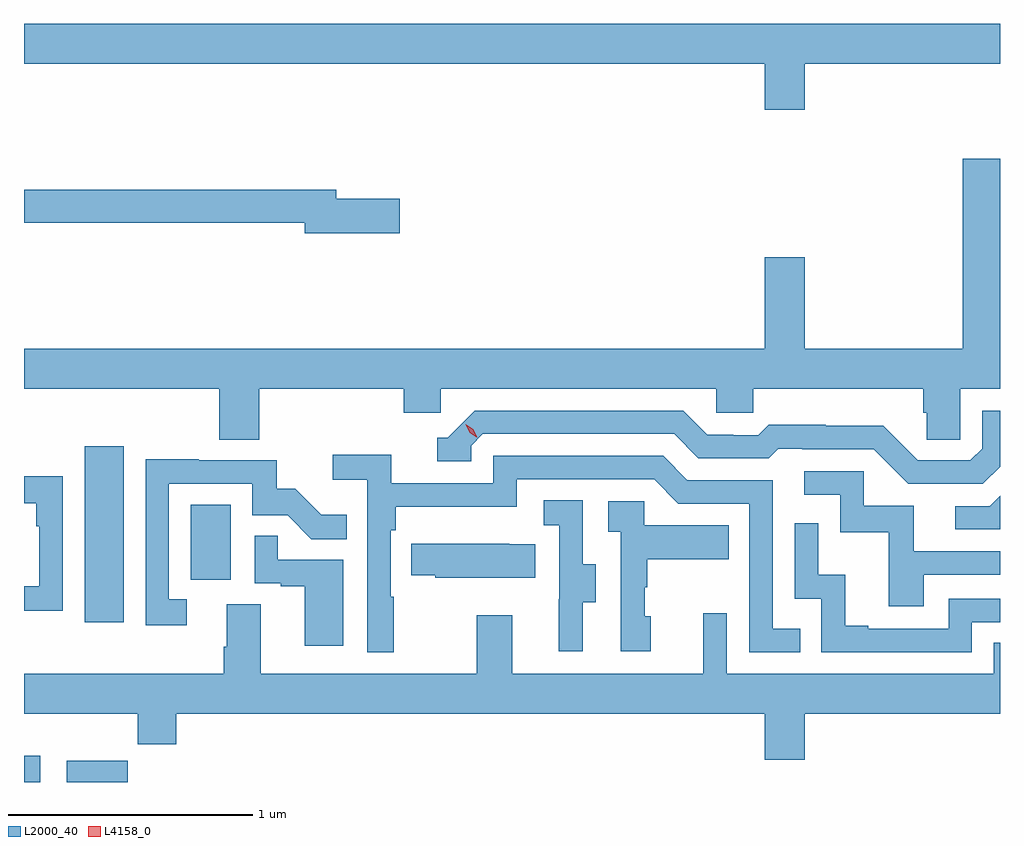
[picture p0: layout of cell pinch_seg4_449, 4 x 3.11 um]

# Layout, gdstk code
import gdstk
lib = gdstk.Library(unit=1e-6, precision=1e-09)
def R(c, l, rs):  # rectangles x0, y0, x1, y1
    for r in rs: c.add(gdstk.rectangle(r[:2], r[2:], *l))
def P(c, l, *ps):  # polygons
    for p in ps: c.add(gdstk.Polygon(p, *l))
L2000_40 = (2000, 40)
L4158_0 = (4158, 0)

pinch_seg4_449 = lib.new_cell('pinch_seg4_449')
R(pinch_seg4_449, L2000_40, [(905.229,771.232,905.296,771.34), (905.405,771.232,905.654,771.319), (905.477,771.888,905.638,772.609), (905.912,772.062,906.076,772.369)])
P(pinch_seg4_449, L2000_40, [(908.428,774.176),(909.229,774.176),(909.229,774.34),(905.229,774.34),(905.229,774.176),(908.264,774.176),(908.264,773.988),(908.428,773.988)],
  [(906.194,772.844),(906.785,772.844),(906.785,772.746),(906.936,772.746),(906.936,772.844),(908.067,772.844),(908.067,772.746),(908.217,772.746),(908.217,772.844),(908.915,772.844),(908.915,772.746),(908.929,772.746),(908.929,772.636),(909.066,772.636),(909.066,772.844),(909.229,772.844),(909.229,773.788),(909.077,773.788),(909.077,773.008),(908.428,773.008),(908.428,773.383),(908.264,773.383),(908.264,773.008),(905.229,773.008),(905.229,772.844),(906.029,772.844),(906.029,772.636),(906.194,772.636)],
  [(906.769,773.624),(906.508,773.624),(906.508,773.66),(905.229,773.66),(905.229,773.524),(906.38,773.524),(906.38,773.482),(906.769,773.482)],
  [(909.229,772.525),(909.229,772.755),(909.156,772.755),(909.156,772.599),(909.108,772.551),(908.892,772.551),(908.75,772.693),(908.514,772.693),(908.514,772.696),(908.281,772.696),(908.239,772.653),(908.136,772.653),(908.136,772.656),(908.029,772.656),(907.93,772.755),(907.077,772.755),(906.966,772.644),(906.923,772.644),(906.923,772.548),(907.062,772.548),(907.062,772.611),(907.11,772.659),(907.893,772.659),(907.992,772.56),(908.281,772.56),(908.32,772.599),(908.419,772.599),(908.419,772.596),(908.712,772.596),(908.853,772.455),(909.159,772.455)],
  [(906.745,771.992),(906.732,771.992),(906.732,772.265),(906.752,772.265),(906.752,772.361),(907.248,772.361),(907.248,772.473),(907.812,772.473),(907.911,772.374),(908.202,772.374),(908.202,771.765),(908.411,771.765),(908.411,771.861),(908.298,771.861),(908.298,772.47),(907.948,772.47),(907.849,772.569),(907.152,772.569),(907.152,772.458),(906.734,772.458),(906.734,772.574),(906.495,772.574),(906.495,772.472),(906.636,772.472),(906.636,771.765),(906.745,771.765)],
  [(905.896,771.981),(905.823,771.981),(905.823,772.455),(906.165,772.455),(906.165,772.326),(906.309,772.326),(906.407,772.228),(906.551,772.228),(906.551,772.327),(906.447,772.327),(906.34,772.434),(906.264,772.434),(906.264,772.551),(905.945,772.551),(905.945,772.556),(905.727,772.556),(905.727,771.876),(905.896,771.876)],
  [(908.917,772.083),(909.229,772.083),(909.229,772.179),(908.875,772.179),(908.875,772.365),(908.67,772.365),(908.67,772.506),(908.427,772.506),(908.427,772.41),(908.574,772.41),(908.574,772.257),(908.773,772.257),(908.773,771.954),(908.917,771.954)],
  [(905.388,772.486),(905.229,772.486),(905.229,772.376),(905.279,772.376),(905.279,772.28),(905.292,772.28),(905.292,772.035),(905.229,772.035),(905.229,771.934),(905.388,771.934)],
  [(909.229,772.405),(909.186,772.362),(909.045,772.362),(909.045,772.269),(909.229,772.269)],
  [(907.519,771.97),(907.573,771.97),(907.573,772.125),(907.518,772.125),(907.518,772.388),(907.359,772.388),(907.359,772.285),(907.422,772.285),(907.422,771.981),(907.421,771.981),(907.421,771.768),(907.519,771.768)],
  [(907.798,771.912),(907.773,771.912),(907.773,772.031),(907.783,772.031),(907.783,772.145),(908.117,772.145),(908.117,772.285),(907.77,772.285),(907.77,772.383),(907.623,772.383),(907.623,772.259),(907.674,772.259),(907.674,771.768),(907.798,771.768)],
  [(909.114,771.888),(909.229,771.888),(909.229,771.984),(909.018,771.984),(909.018,771.861),(908.689,771.861),(908.689,771.874),(908.594,771.874),(908.594,772.082),(908.484,772.082),(908.484,772.294),(908.388,772.294),(908.388,771.984),(908.496,771.984),(908.496,771.765),(909.114,771.765)],
  [(906.538,772.143),(906.269,772.143),(906.269,772.241),(906.174,772.241),(906.174,772.047),(906.281,772.047),(906.281,772.035),(906.38,772.035),(906.38,771.792),(906.538,771.792)],
  [(907.325,772.207),(907.217,772.207),(907.217,772.21),(906.817,772.21),(906.817,772.081),(906.915,772.081),(906.915,772.07),(907.325,772.07)],
  [(908.428,771.512),(909.229,771.512),(909.229,771.803),(909.204,771.803),(909.204,771.676),(908.109,771.676),(908.109,771.925),(908.012,771.925),(908.012,771.676),(907.231,771.676),(907.231,771.916),(907.084,771.916),(907.084,771.676),(906.199,771.676),(906.199,771.962),(906.059,771.962),(906.059,771.788),(906.047,771.788),(906.047,771.676),(905.229,771.676),(905.229,771.512),(905.695,771.512),(905.695,771.388),(905.852,771.388),(905.852,771.512),(908.264,771.512),(908.264,771.324),(908.428,771.324)])
P(pinch_seg4_449, L4158_0, [(907.085,772.645),(907.055,772.665),(907.04,772.698),(907.04,772.698),(907.04,772.698),(907.07,772.678),(907.086,772.645),(907.086,772.645)])

lib.write_gds('pinch_seg4_449.gds')
